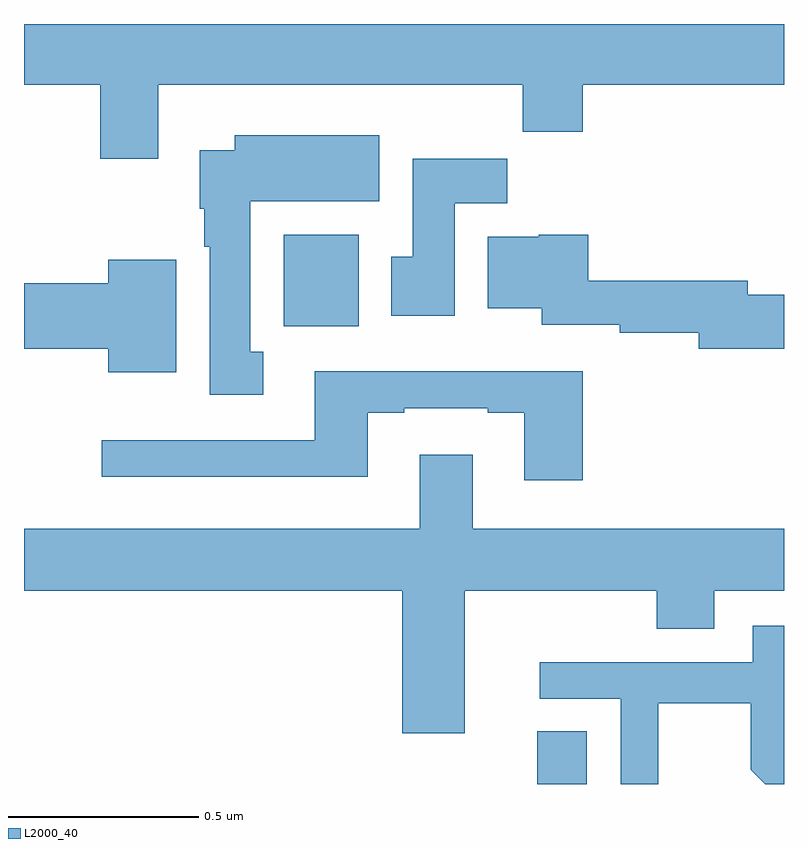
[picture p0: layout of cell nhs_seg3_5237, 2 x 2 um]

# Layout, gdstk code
import gdstk
lib = gdstk.Library(unit=1e-6, precision=1e-09)
def R(c, l, rs):  # rectangles x0, y0, x1, y1
    for r in rs: c.add(gdstk.rectangle(r[:2], r[2:], *l))
def P(c, l, *ps):  # polygons
    for p in ps: c.add(gdstk.Polygon(p, *l))
L2000_40 = (2000, 40)

nhs_seg3_5237 = lib.new_cell('nhs_seg3_5237')
R(nhs_seg3_5237, L2000_40, [(177.35,708.4,177.481,708.539), (176.684,709.604,176.881,709.846)])
P(nhs_seg3_5237, L2000_40, [(176.353,710.24),(177.313,710.24),(177.313,710.116),(177.47,710.116),(177.47,710.24),(178,710.24),(178,710.4),(176,710.4),(176,710.24),(176.201,710.24),(176.201,710.046),(176.353,710.046)],
  [(176.629,709.538),(176.596,709.538),(176.596,709.934),(176.935,709.934),(176.935,710.107),(176.555,710.107),(176.555,710.068),(176.462,710.068),(176.462,709.914),(176.474,709.914),(176.474,709.814),(176.489,709.814),(176.489,709.425),(176.629,709.425)],
  [(177.133,709.928),(177.272,709.928),(177.272,710.046),(177.023,710.046),(177.023,709.788),(176.966,709.788),(176.966,709.632),(177.133,709.632)],
  [(178,709.688),(177.904,709.688),(177.904,709.724),(177.485,709.724),(177.485,709.846),(177.354,709.846),(177.354,709.84),(177.221,709.84),(177.221,709.652),(177.362,709.652),(177.362,709.608),(177.568,709.608),(177.568,709.588),(177.776,709.588),(177.776,709.546),(178,709.546)],
  [(176.401,709.78),(176.222,709.78),(176.222,709.718),(176,709.718),(176,709.546),(176.222,709.546),(176.222,709.484),(176.401,709.484)],
  [(177.47,709.486),(176.765,709.486),(176.765,709.305),(176.205,709.305),(176.205,709.208),(176.905,709.208),(176.905,709.377),(177.001,709.377),(177.001,709.389),(177.221,709.389),(177.221,709.377),(177.317,709.377),(177.317,709.2),(177.47,709.2)],
  [(177.16,708.908),(177.665,708.908),(177.665,708.809),(177.817,708.809),(177.817,708.908),(178,708.908),(178,709.072),(177.181,709.072),(177.181,709.267),(177.041,709.267),(177.041,709.072),(176,709.072),(176,708.908),(176.996,708.908),(176.996,708.534),(177.16,708.534)],
  [(177.669,708.612),(177.913,708.612),(177.913,708.437),(177.95,708.4),(178,708.4),(178,708.817),(177.918,708.817),(177.918,708.72),(177.357,708.72),(177.357,708.624),(177.57,708.624),(177.57,708.4),(177.669,708.4)])

lib.write_gds('nhs_seg3_5237.gds')
